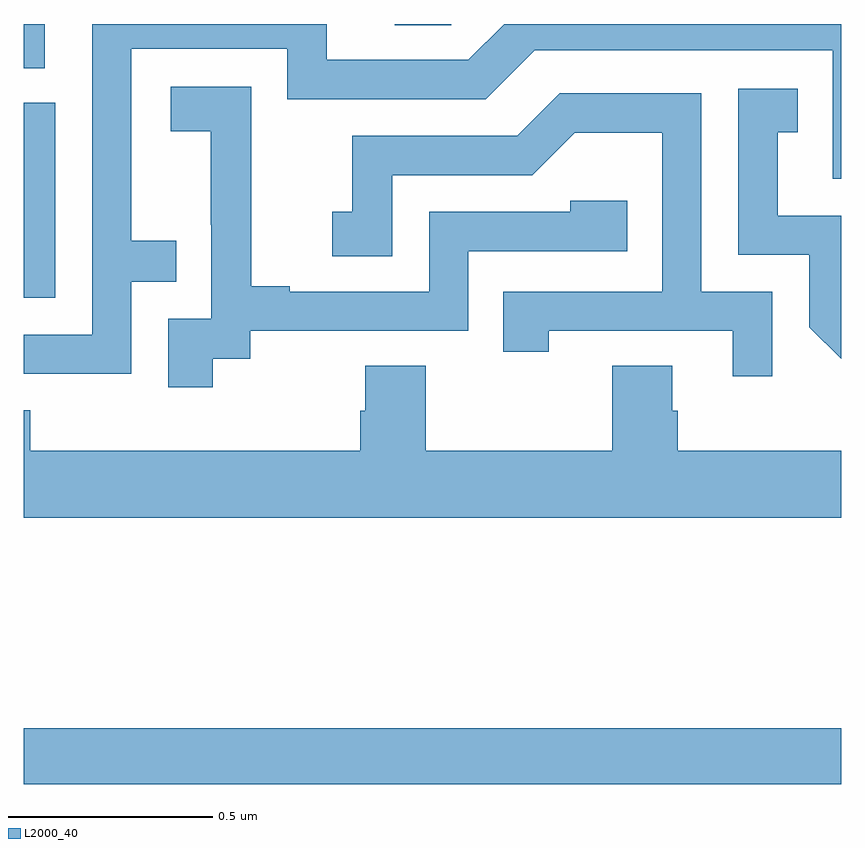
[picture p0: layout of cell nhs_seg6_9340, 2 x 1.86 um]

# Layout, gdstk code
import gdstk
lib = gdstk.Library(unit=1e-6, precision=1e-09)
def R(c, l, rs):  # rectangles x0, y0, x1, y1
    for r in rs: c.add(gdstk.rectangle(r[:2], r[2:], *l))
def P(c, l, *ps):  # polygons
    for p in ps: c.add(gdstk.Polygon(p, *l))
L2000_40 = (2000, 40)

nhs_seg6_9340 = lib.new_cell('nhs_seg6_9340')
R(nhs_seg6_9340, L2000_40, [(232,990.64,234,990.776), (232,991.83,232.077,992.307), (232,992.392,232.051,992.5), (232.907,992.497,233.046,992.5)])
P(nhs_seg6_9340, L2000_40, [(232.263,991.869),(232.373,991.869),(232.373,991.97),(232.263,991.97),(232.263,992.439),(232.644,992.439),(232.644,992.316),(233.13,992.316),(233.25,992.436),(233.979,992.436),(233.979,992.121),(234,992.121),(234,992.5),(233.176,992.5),(233.088,992.412),(232.741,992.412),(232.741,992.5),(232.167,992.5),(232.167,991.74),(232,991.74),(232,991.644),(232.263,991.644)],
  [(232.462,991.681),(232.554,991.681),(232.554,991.749),(233.088,991.749),(233.088,991.944),(233.477,991.944),(233.477,992.067),(233.337,992.067),(233.337,992.04),(232.992,992.04),(232.992,991.845),(232.651,991.845),(232.651,991.858),(232.556,991.858),(232.556,992.141),(232.557,992.141),(232.557,992.347),(232.359,992.347),(232.359,992.237),(232.457,992.237),(232.457,992.009),(232.458,992.009),(232.458,991.779),(232.353,991.779),(232.353,991.611),(232.462,991.611)],
  [(234,992.031),(233.845,992.031),(233.845,992.235),(233.894,992.235),(233.894,992.341),(233.748,992.341),(233.748,991.935),(233.922,991.935),(233.922,991.758),(234,991.681)],
  [(233.832,991.845),(233.658,991.845),(233.658,992.331),(233.312,992.331),(233.207,992.226),(232.804,992.226),(232.804,992.041),(232.755,992.041),(232.755,991.932),(232.902,991.932),(232.902,992.13),(233.244,992.13),(233.348,992.234),(233.562,992.234),(233.562,991.845),(233.173,991.845),(233.173,991.698),(233.284,991.698),(233.284,991.749),(233.735,991.749),(233.735,991.638),(233.832,991.638)],
  [(234,991.456),(233.6,991.456),(233.6,991.554),(233.587,991.554),(233.587,991.664),(233.44,991.664),(233.44,991.456),(232.983,991.456),(232.983,991.664),(232.835,991.664),(232.835,991.554),(232.823,991.554),(232.823,991.456),(232.016,991.456),(232.016,991.555),(232,991.555),(232,991.292),(234,991.292)])

lib.write_gds('nhs_seg6_9340.gds')
